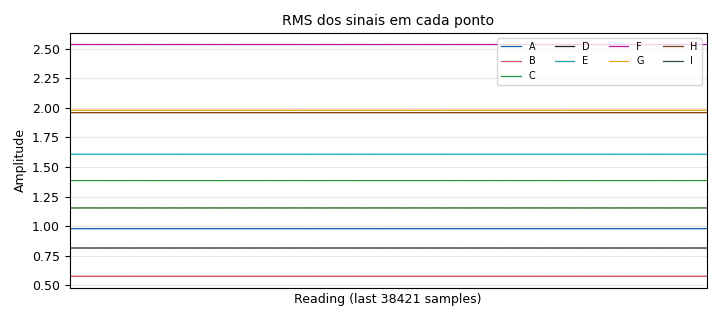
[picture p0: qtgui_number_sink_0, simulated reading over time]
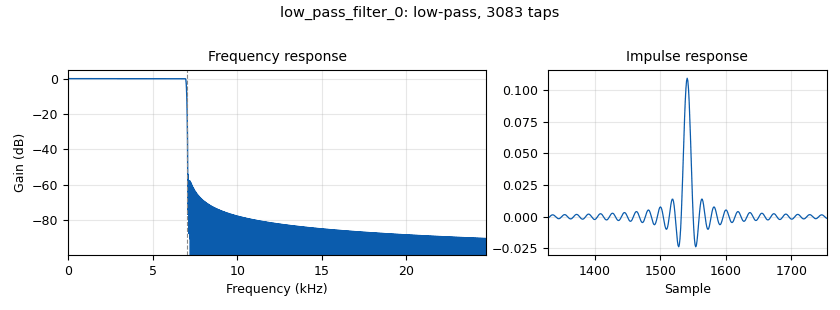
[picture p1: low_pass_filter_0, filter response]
<?xml version='1.0' encoding='utf-8'?>
<?grc format='1' created='3.7.9'?>
<flow_graph>
<block>
<key>options</key>
<param><key>id</key><value>top_block</value></param>
<param><key>category</key><value>Custom</value></param>
<param><key>generate_options</key><value>qt_gui</value></param>
</block>
<block>
<key>variable</key>
<param><key>id</key><value>Ymin</value></param>
<param><key>value</key><value>-80</value></param>
</block>
<block>
<key>variable</key>
<param><key>id</key><value>samp_rate</value></param>
<param><key>value</key><value>128000</value></param>
</block>
<block>
<key>analog_sig_source_x</key>
<param><key>id</key><value>analog_sig_source_x_0</value></param>
<param><key>amp</key><value>2</value></param>
<param><key>freq</key><value>10000</value></param>
<param><key>offset</key><value>0</value></param>
<param><key>type</key><value>float</value></param>
<param><key>samp_rate</key><value>samp_rate</value></param>
<param><key>waveform</key><value>analog.GR_COS_WAVE</value></param>
</block>
<block>
<key>analog_sig_source_x</key>
<param><key>id</key><value>analog_sig_source_x_0_0</value></param>
<param><key>amp</key><value>2</value></param>
<param><key>freq</key><value>10000</value></param>
<param><key>offset</key><value>0</value></param>
<param><key>type</key><value>float</value></param>
<param><key>samp_rate</key><value>samp_rate</value></param>
<param><key>waveform</key><value>analog.GR_COS_WAVE</value></param>
</block>
<block>
<key>analog_sig_source_x</key>
<param><key>id</key><value>analog_sig_source_x_1</value></param>
<param><key>amp</key><value>2</value></param>
<param><key>freq</key><value>10000</value></param>
<param><key>offset</key><value>0</value></param>
<param><key>type</key><value>float</value></param>
<param><key>samp_rate</key><value>samp_rate</value></param>
<param><key>waveform</key><value>analog.GR_SIN_WAVE</value></param>
</block>
<block>
<key>analog_sig_source_x</key>
<param><key>id</key><value>analog_sig_source_x_1_0</value></param>
<param><key>amp</key><value>2</value></param>
<param><key>freq</key><value>10000</value></param>
<param><key>offset</key><value>0</value></param>
<param><key>type</key><value>float</value></param>
<param><key>samp_rate</key><value>samp_rate</value></param>
<param><key>waveform</key><value>analog.GR_SIN_WAVE</value></param>
</block>
<block>
<key>analog_sig_source_x</key>
<param><key>id</key><value>analog_sig_source_x_1_1</value></param>
<param><key>amp</key><value>2</value></param>
<param><key>freq</key><value>1000</value></param>
<param><key>offset</key><value>-1</value></param>
<param><key>type</key><value>float</value></param>
<param><key>samp_rate</key><value>samp_rate</value></param>
<param><key>waveform</key><value>analog.GR_TRI_WAVE</value></param>
</block>
<block>
<key>analog_sig_source_x</key>
<param><key>id</key><value>analog_sig_source_x_1_2</value></param>
<param><key>amp</key><value>2</value></param>
<param><key>freq</key><value>700</value></param>
<param><key>offset</key><value>-1</value></param>
<param><key>type</key><value>float</value></param>
<param><key>samp_rate</key><value>samp_rate</value></param>
<param><key>waveform</key><value>analog.GR_SQR_WAVE</value></param>
</block>
<block>
<key>blocks_add_xx</key>
<param><key>id</key><value>blocks_add_xx_0</value></param>
<param><key>type</key><value>float</value></param>
</block>
<block>
<key>blocks_multiply_xx</key>
<param><key>id</key><value>blocks_multiply_xx_0</value></param>
<param><key>type</key><value>float</value></param>
</block>
<block>
<key>blocks_multiply_xx</key>
<param><key>id</key><value>blocks_multiply_xx_0_0</value></param>
<param><key>type</key><value>float</value></param>
</block>
<block>
<key>blocks_multiply_xx</key>
<param><key>id</key><value>blocks_multiply_xx_0_0_0</value></param>
<param><key>type</key><value>float</value></param>
</block>
<block>
<key>blocks_multiply_xx</key>
<param><key>id</key><value>blocks_multiply_xx_0_1</value></param>
<param><key>type</key><value>float</value></param>
</block>
<block>
<key>blocks_rms_xx</key>
<param><key>id</key><value>blocks_rms_xx_0</value></param>
<param><key>alpha</key><value>0.0001</value></param>
<param><key>type</key><value>float</value></param>
</block>
<block>
<key>blocks_rms_xx</key>
<param><key>id</key><value>blocks_rms_xx_0_0</value></param>
<param><key>alpha</key><value>0.0001</value></param>
<param><key>type</key><value>float</value></param>
</block>
<block>
<key>blocks_rms_xx</key>
<param><key>id</key><value>blocks_rms_xx_0_0_0</value></param>
<param><key>alpha</key><value>0.0001</value></param>
<param><key>type</key><value>float</value></param>
</block>
<block>
<key>blocks_rms_xx</key>
<param><key>id</key><value>blocks_rms_xx_0_0_0_0</value></param>
<param><key>alpha</key><value>0.0001</value></param>
<param><key>type</key><value>float</value></param>
</block>
<block>
<key>blocks_rms_xx</key>
<param><key>id</key><value>blocks_rms_xx_0_0_0_0_0</value></param>
<param><key>alpha</key><value>0.0001</value></param>
<param><key>type</key><value>float</value></param>
</block>
<block>
<key>blocks_rms_xx</key>
<param><key>id</key><value>blocks_rms_xx_0_0_0_0_0_0</value></param>
<param><key>alpha</key><value>0.0001</value></param>
<param><key>type</key><value>float</value></param>
</block>
<block>
<key>blocks_rms_xx</key>
<param><key>id</key><value>blocks_rms_xx_0_1</value></param>
<param><key>alpha</key><value>0.0001</value></param>
<param><key>type</key><value>float</value></param>
</block>
<block>
<key>blocks_rms_xx</key>
<param><key>id</key><value>blocks_rms_xx_0_1_0</value></param>
<param><key>alpha</key><value>0.0001</value></param>
<param><key>type</key><value>float</value></param>
</block>
<block>
<key>blocks_rms_xx</key>
<param><key>id</key><value>blocks_rms_xx_0_1_1</value></param>
<param><key>alpha</key><value>0.0001</value></param>
<param><key>type</key><value>float</value></param>
</block>
<block>
<key>low_pass_filter</key>
<param><key>id</key><value>low_pass_filter_0</value></param>
<param><key>cutoff_freq</key><value>7000</value></param>
<param><key>decim</key><value>1</value></param>
<param><key>type</key><value>fir_filter_fff</value></param>
<param><key>gain</key><value>1</value></param>
<param><key>samp_rate</key><value>samp_rate</value></param>
<param><key>width</key><value>100</value></param>
<param><key>win</key><value>firdes.WIN_HAMMING</value></param>
</block>
<block>
<key>low_pass_filter</key>
<param><key>id</key><value>low_pass_filter_0_0</value></param>
<param><key>cutoff_freq</key><value>7000</value></param>
<param><key>decim</key><value>1</value></param>
<param><key>type</key><value>fir_filter_fff</value></param>
<param><key>gain</key><value>1</value></param>
<param><key>samp_rate</key><value>samp_rate</value></param>
<param><key>width</key><value>100</value></param>
<param><key>win</key><value>firdes.WIN_HAMMING</value></param>
</block>
<block>
<key>low_pass_filter</key>
<param><key>id</key><value>low_pass_filter_0_0_0</value></param>
<param><key>cutoff_freq</key><value>7000</value></param>
<param><key>decim</key><value>1</value></param>
<param><key>type</key><value>fir_filter_fff</value></param>
<param><key>gain</key><value>1</value></param>
<param><key>samp_rate</key><value>samp_rate</value></param>
<param><key>width</key><value>100</value></param>
<param><key>win</key><value>firdes.WIN_HAMMING</value></param>
</block>
<block>
<key>low_pass_filter</key>
<param><key>id</key><value>low_pass_filter_0_1</value></param>
<param><key>cutoff_freq</key><value>7000</value></param>
<param><key>decim</key><value>1</value></param>
<param><key>type</key><value>fir_filter_fff</value></param>
<param><key>gain</key><value>1</value></param>
<param><key>samp_rate</key><value>samp_rate</value></param>
<param><key>width</key><value>100</value></param>
<param><key>win</key><value>firdes.WIN_HAMMING</value></param>
</block>
<block>
<key>qtgui_number_sink</key>
<param><key>id</key><value>qtgui_number_sink_0</value></param>
<param><key>graph_type</key><value>qtgui.NUM_GRAPH_HORIZ</value></param>
<param><key>type</key><value>float</value></param>
<param><key>color1</key><value>("black", "red")</value></param>
<param><key>label1</key><value>A</value></param>
<param><key>unit1</key><value>RMS</value></param>
<param><key>color2</key><value>("black", "red")</value></param>
<param><key>label2</key><value>B</value></param>
<param><key>unit2</key><value>RMS</value></param>
<param><key>color3</key><value>("black", "red")</value></param>
<param><key>label3</key><value>C</value></param>
<param><key>unit3</key><value>RMS</value></param>
<param><key>color4</key><value>("black", "red")</value></param>
<param><key>label4</key><value>D</value></param>
<param><key>unit4</key><value>RMS</value></param>
<param><key>color5</key><value>("black", "red")</value></param>
<param><key>label5</key><value>E</value></param>
<param><key>unit5</key><value>RMS</value></param>
<param><key>color6</key><value>("black", "red")</value></param>
<param><key>label6</key><value>F</value></param>
<param><key>unit6</key><value>RMS</value></param>
<param><key>color7</key><value>("black", "red")</value></param>
<param><key>label7</key><value>G</value></param>
<param><key>unit7</key><value>RMS</value></param>
<param><key>color8</key><value>("black", "red")</value></param>
<param><key>label8</key><value>H</value></param>
<param><key>unit8</key><value>RMS</value></param>
<param><key>color9</key><value>("black", "red")</value></param>
<param><key>label9</key><value>I</value></param>
<param><key>unit9</key><value>RMS</value></param>
<param><key>max</key><value>3</value></param>
<param><key>min</key><value>0</value></param>
<param><key>name</key><value>"RMS dos sinais em cada ponto"</value></param>
<param><key>nconnections</key><value>9</value></param>
</block>
<connection><source_block_id>analog_sig_source_x_0</source_block_id><sink_block_id>blocks_multiply_xx_0</sink_block_id><source_key>0</source_key><sink_key>0</sink_key></connection>
<connection><source_block_id>analog_sig_source_x_0_0</source_block_id><sink_block_id>blocks_multiply_xx_0_1</sink_block_id><source_key>0</source_key><sink_key>0</sink_key></connection>
<connection><source_block_id>analog_sig_source_x_1</source_block_id><sink_block_id>blocks_multiply_xx_0_0</sink_block_id><source_key>0</source_key><sink_key>1</sink_key></connection>
<connection><source_block_id>analog_sig_source_x_1_0</source_block_id><sink_block_id>blocks_multiply_xx_0_0_0</sink_block_id><source_key>0</source_key><sink_key>1</sink_key></connection>
<connection><source_block_id>analog_sig_source_x_1_1</source_block_id><sink_block_id>low_pass_filter_0_0_0</sink_block_id><source_key>0</source_key><sink_key>0</sink_key></connection>
<connection><source_block_id>analog_sig_source_x_1_2</source_block_id><sink_block_id>low_pass_filter_0_1</sink_block_id><source_key>0</source_key><sink_key>0</sink_key></connection>
<connection><source_block_id>blocks_add_xx_0</source_block_id><sink_block_id>blocks_multiply_xx_0_0_0</sink_block_id><source_key>0</source_key><sink_key>0</sink_key></connection>
<connection><source_block_id>blocks_add_xx_0</source_block_id><sink_block_id>blocks_multiply_xx_0_1</sink_block_id><source_key>0</source_key><sink_key>1</sink_key></connection>
<connection><source_block_id>blocks_add_xx_0</source_block_id><sink_block_id>blocks_rms_xx_0_1_0</sink_block_id><source_key>0</source_key><sink_key>0</sink_key></connection>
<connection><source_block_id>blocks_multiply_xx_0</source_block_id><sink_block_id>blocks_add_xx_0</sink_block_id><source_key>0</source_key><sink_key>0</sink_key></connection>
<connection><source_block_id>blocks_multiply_xx_0</source_block_id><sink_block_id>blocks_rms_xx_0_1</sink_block_id><source_key>0</source_key><sink_key>0</sink_key></connection>
<connection><source_block_id>blocks_multiply_xx_0_0</source_block_id><sink_block_id>blocks_add_xx_0</sink_block_id><source_key>0</source_key><sink_key>1</sink_key></connection>
<connection><source_block_id>blocks_multiply_xx_0_0</source_block_id><sink_block_id>blocks_rms_xx_0_0_0</sink_block_id><source_key>0</source_key><sink_key>0</sink_key></connection>
<connection><source_block_id>blocks_multiply_xx_0_0_0</source_block_id><sink_block_id>blocks_rms_xx_0_0_0_0</sink_block_id><source_key>0</source_key><sink_key>0</sink_key></connection>
<connection><source_block_id>blocks_multiply_xx_0_0_0</source_block_id><sink_block_id>low_pass_filter_0_0</sink_block_id><source_key>0</source_key><sink_key>0</sink_key></connection>
<connection><source_block_id>blocks_multiply_xx_0_1</source_block_id><sink_block_id>blocks_rms_xx_0_1_1</sink_block_id><source_key>0</source_key><sink_key>0</sink_key></connection>
<connection><source_block_id>blocks_multiply_xx_0_1</source_block_id><sink_block_id>low_pass_filter_0</sink_block_id><source_key>0</source_key><sink_key>0</sink_key></connection>
<connection><source_block_id>blocks_rms_xx_0</source_block_id><sink_block_id>qtgui_number_sink_0</sink_block_id><source_key>0</source_key><sink_key>0</sink_key></connection>
<connection><source_block_id>blocks_rms_xx_0_0</source_block_id><sink_block_id>qtgui_number_sink_0</sink_block_id><source_key>0</source_key><sink_key>1</sink_key></connection>
<connection><source_block_id>blocks_rms_xx_0_0_0</source_block_id><sink_block_id>qtgui_number_sink_0</sink_block_id><source_key>0</source_key><sink_key>3</sink_key></connection>
<connection><source_block_id>blocks_rms_xx_0_0_0_0</source_block_id><sink_block_id>qtgui_number_sink_0</sink_block_id><source_key>0</source_key><sink_key>6</sink_key></connection>
<connection><source_block_id>blocks_rms_xx_0_0_0_0_0</source_block_id><sink_block_id>qtgui_number_sink_0</sink_block_id><source_key>0</source_key><sink_key>7</sink_key></connection>
<connection><source_block_id>blocks_rms_xx_0_0_0_0_0_0</source_block_id><sink_block_id>qtgui_number_sink_0</sink_block_id><source_key>0</source_key><sink_key>8</sink_key></connection>
<connection><source_block_id>blocks_rms_xx_0_1</source_block_id><sink_block_id>qtgui_number_sink_0</sink_block_id><source_key>0</source_key><sink_key>2</sink_key></connection>
<connection><source_block_id>blocks_rms_xx_0_1_0</source_block_id><sink_block_id>qtgui_number_sink_0</sink_block_id><source_key>0</source_key><sink_key>4</sink_key></connection>
<connection><source_block_id>blocks_rms_xx_0_1_1</source_block_id><sink_block_id>qtgui_number_sink_0</sink_block_id><source_key>0</source_key><sink_key>5</sink_key></connection>
<connection><source_block_id>low_pass_filter_0</source_block_id><sink_block_id>blocks_rms_xx_0_0_0_0_0</sink_block_id><source_key>0</source_key><sink_key>0</sink_key></connection>
<connection><source_block_id>low_pass_filter_0_0</source_block_id><sink_block_id>blocks_rms_xx_0_0_0_0_0_0</sink_block_id><source_key>0</source_key><sink_key>0</sink_key></connection>
<connection><source_block_id>low_pass_filter_0_0_0</source_block_id><sink_block_id>blocks_multiply_xx_0_0</sink_block_id><source_key>0</source_key><sink_key>0</sink_key></connection>
<connection><source_block_id>low_pass_filter_0_0_0</source_block_id><sink_block_id>blocks_rms_xx_0_0</sink_block_id><source_key>0</source_key><sink_key>0</sink_key></connection>
<connection><source_block_id>low_pass_filter_0_1</source_block_id><sink_block_id>blocks_multiply_xx_0</sink_block_id><source_key>0</source_key><sink_key>1</sink_key></connection>
<connection><source_block_id>low_pass_filter_0_1</source_block_id><sink_block_id>blocks_rms_xx_0</sink_block_id><source_key>0</source_key><sink_key>0</sink_key></connection>
</flow_graph>
